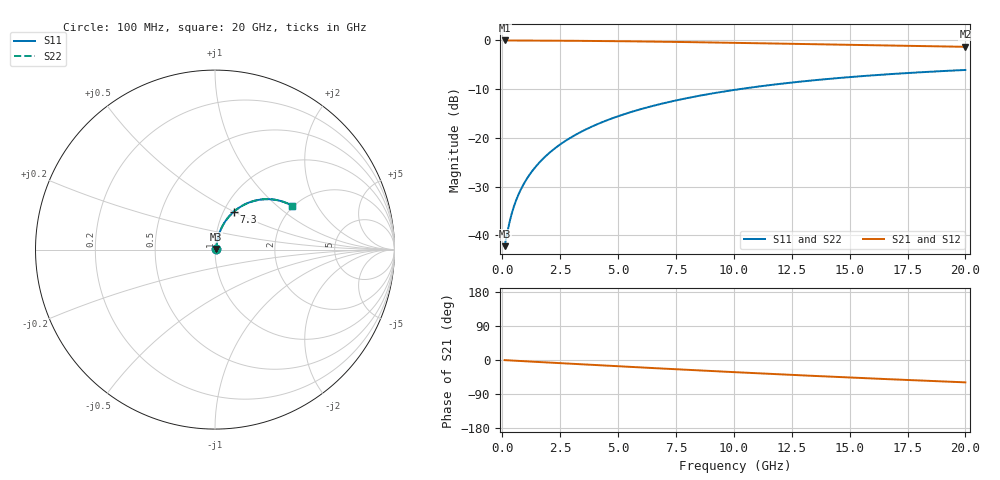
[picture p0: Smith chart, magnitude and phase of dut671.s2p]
! Touchstone file exported from HFSS 2026.1.0
!  File:  C:/ffzhzh/LocalFiles/Ansys_Project_Files/temp_train_TMRDL_671_1783009931_46388.aedt
!  Generated:  12:33:54 AM Jul  3, 2026
!  Design:  TMRDL
!  Project:  temp_train_TMRDL_671_1783009931_46388
! Variables:
!  h_bsmrdl = 2um
!  h_ox = 20um
!  h_rdl = 5um
!  h_sub = 80um
!  h_tmrdl = 2.27um
!  h_tsv = 80um
!  h_via = 3um
!  l_bsmrdl = 300um
!  l_sub = 1313.99um
!  l_tmrdl = 913.99um
!  m_sub = 200um
!  pitch = 47.07um
!  r_tsv = 6um
!  s_tmrdl = 10um
!  w_bsmrdl = 18um
!  w_sub = 500um
!  w_tmrdl = 21.68um
!  x_tsv_center1 = 924.83um
!  x_tsv_center2 = 1242.83um
!  x_tsv_center3 = 2178.5um
!  x_tsv_center4 = 2496.5um
!  x_tsv_center5 = 3432.17um
!  x_tsv_center6 = 3750.17um
# GHz S MA R 50.000000
! Terminal data exported
! Port[1] = TM_RDL1_1_T1
! Port[2] = TM_RDL1_1_T2
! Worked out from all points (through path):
!   200 points, 100 MHz to 20 GHz, reference 50 ohm
!   highest |S21| = -0.06 dB at 100 MHz (marker M1); lowest = -1.4 dB at 20 GHz (marker M2)
!   group delay of S21, straight-line fit = 8.21 ps
!   lowest |S11| = -42.2 dB at 100 MHz (marker M3), VSWR 1.02, Z = 50.7 + j0.38 ohm
!   |S11| at or under -10 dB: start of sweep to 10.29 GHz
!   |S22| runs from -42.2 to -6.1 dB; largest |S21 - S12| = 1.2e-14
!   S11 on the Smith chart (normalised r, x): 100 MHz: 1.01, +0.01; 7.3 GHz: 1.12, +0.50; 20 GHz: 1.97, +1.27
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0.1  0.007754 28.9  0.9932 -0.4  0.9932 -0.4  0.007754 28.9
! Gamma 0 0 0 0
! Port Impedance 50 0 50 0
0.3  0.01326 56.2  0.9928 -1.1  0.9928 -1.1  0.01326 56.2
0.4  0.01647 61.8  0.9925 -1.4  0.9925 -1.4  0.01647 61.8
0.5  0.01973 65.4  0.9922 -1.7  0.9922 -1.7  0.01973 65.4
0.6  0.02299 67.9  0.9919 -2.1  0.9919 -2.1  0.02299 67.9
0.8  0.02951 71.1  0.9914 -2.7  0.9914 -2.7  0.02951 71.1
1.1  0.03932 73.7  0.9907 -3.7  0.9907 -3.7  0.03932 73.7
1.3  0.04588 74.7  0.9903 -4.4  0.9903 -4.4  0.04588 74.7
1.6  0.05576 75.5  0.9896 -5.4  0.9896 -5.4  0.05576 75.5
2.1  0.07228 75.8  0.9884 -7.0  0.9884 -7.0  0.07228 75.8
2.7  0.09207 75.3  0.9866 -9.0  0.9866 -9.0  0.09207 75.3
3.5  0.1182 73.8  0.9836 -11.6  0.9836 -11.6  0.1182 73.8
4.2  0.1408 72.2  0.9804 -13.9  0.9804 -13.9  0.1408 72.2
5  0.1662 70.1  0.9762 -16.5  0.9762 -16.5  0.1662 70.1
5.9  0.194 67.6  0.9708 -19.4  0.9708 -19.4  0.194 67.6
6.8  0.2209 65.1  0.9648 -22.2  0.9648 -22.2  0.221 65.1
7.3  0.2355 63.6  0.9612 -23.8  0.9612 -23.8  0.2355 63.6
8.6  0.272 59.9  0.9511 -27.8  0.9511 -27.8  0.272 59.9
10.1  0.3114 55.5  0.9386 -32.3  0.9386 -32.3  0.3114 55.5
13.4  0.3871 46.4  0.9092 -41.8  0.9092 -41.8  0.3871 46.3
16.7  0.448 37.7  0.8805 -50.7  0.8805 -50.7  0.4481 37.7
20  0.4952 29.5  0.8549 -59.0  0.8549 -59.0  0.4952 29.5
